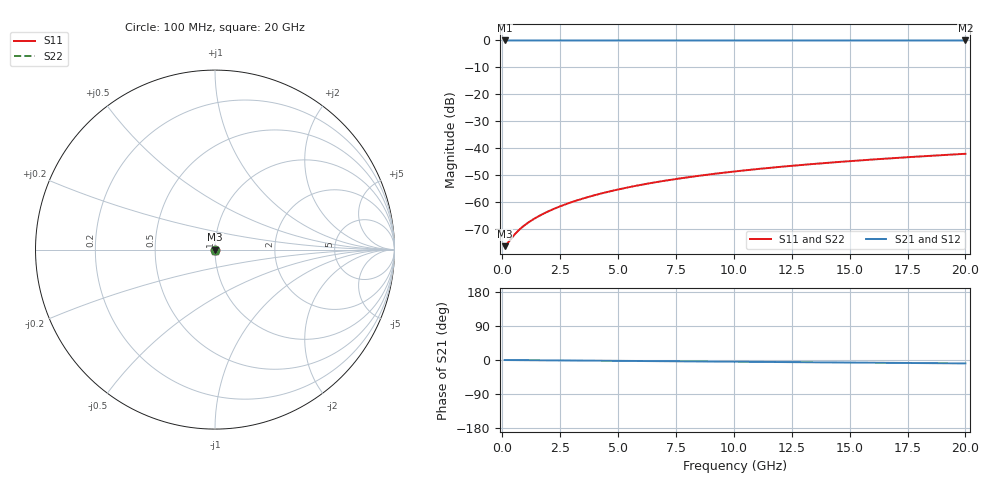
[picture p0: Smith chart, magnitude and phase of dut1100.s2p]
! Touchstone file exported from HFSS 2026.1.0
!  File:  C:/ffzhzh/LocalFiles/Ansys_Project_Files/temp_train_TSV_1100_1783190487_51560.aedt
!  Generated:  02:42:55 AM Jul  5, 2026
!  Design:  TSV
!  Project:  temp_train_TSV_1100_1783190487_51560
! Variables:
!  h_bsmrdl = 2um
!  h_ox = 20um
!  h_rdl = 5um
!  h_sub = 93.13um
!  h_tmrdl = 5um
!  h_tsv = 93.13um
!  h_via = 3um
!  l_bsmrdl = 300um
!  l_sub = 419.64um
!  l_tmrdl = 200um
!  m_sub = 200um
!  pitch = 37.93um
!  r_tsv = 9.82um
!  s_tmrdl = 10um
!  w_bsmrdl = 18um
!  w_sub = 500um
!  w_tmrdl = 12um
!  x_tsv_center1 = 206um
!  x_tsv_center2 = 524um
!  x_tsv_center3 = 736um
!  x_tsv_center4 = 1054um
!  x_tsv_center5 = 1266um
!  x_tsv_center6 = 1584um
# GHz S MA R 50.000000
! Terminal data exported
! Port[1] = TSV1_1_T1
! Port[2] = TSV1_1_T2
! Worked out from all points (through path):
!   200 points, 100 MHz to 20 GHz, reference 50 ohm
!   highest |S21| = 0.00 dB at 100 MHz (marker M1); lowest = 0.0 dB at 20 GHz (marker M2)
!   group delay of S21, straight-line fit = 1.24 ps
!   lowest |S11| = -76.4 dB at 100 MHz (marker M3), VSWR 1.00, Z = 50 + j0.00125 ohm
!   |S11| at or under -10 dB: start of sweep to end of sweep
!   |S22| runs from -76.4 to -42.1 dB; largest |S21 - S12| = 3.3e-15
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0.1  0.0001506 4.7  0.9998 -0.0  0.9998 -0.0  0.0001506 4.7
! Gamma 0 0 0 0
! Port Impedance 50 0 50 0
0.2  0.0001657 7.5  0.9998 -0.1  0.9998 -0.1  0.0001657 7.5
0.5  0.0002395 2.7  0.9998 -0.2  0.9998 -0.2  0.0002395 2.7
0.7  0.0002953 -5.4  0.9997 -0.3  0.9997 -0.3  0.0002952 -5.4
0.8  0.0003233 -9.5  0.9997 -0.4  0.9997 -0.4  0.0003233 -9.5
1  0.0003796 -17.4  0.9996 -0.5  0.9996 -0.5  0.0003796 -17.4
1.2  0.0004362 -24.3  0.9996 -0.6  0.9996 -0.6  0.0004362 -24.3
1.4  0.0004936 -30.1  0.9996 -0.6  0.9996 -0.6  0.0004936 -30.1
1.8  0.0006115 -39.3  0.9995 -0.8  0.9995 -0.8  0.0006115 -39.3
2.3  0.0007653 -47.3  0.9995 -1.0  0.9995 -1.0  0.0007653 -47.4
2.9  0.0009592 -53.9  0.9994 -1.3  0.9994 -1.3  0.0009591 -53.9
3.5  0.001162 -58.5  0.9994 -1.6  0.9994 -1.6  0.001162 -58.5
4.2  0.001409 -62.4  0.9993 -1.9  0.9993 -1.9  0.001409 -62.4
5  0.001702 -65.8  0.9992 -2.3  0.9992 -2.3  0.001702 -65.8
5.9  0.002042 -68.7  0.9992 -2.7  0.9992 -2.7  0.002042 -68.7
6.8  0.002391 -71.1  0.9991 -3.1  0.9991 -3.1  0.002391 -71.1
8.3  0.002984 -74.4  0.999 -3.7  0.999 -3.7  0.002984 -74.4
10.1  0.003709 -77.5  0.9989 -4.5  0.9989 -4.5  0.003708 -77.5
11.7  0.00436 -79.7  0.9988 -5.3  0.9988 -5.3  0.004359 -79.7
13.4  0.005058 -81.7  0.9987 -6.0  0.9987 -6.0  0.005058 -81.8
16.7  0.006432 -85.0  0.9986 -7.5  0.9986 -7.5  0.006431 -85.0
20  0.007837 -87.6  0.9984 -9.0  0.9984 -9.0  0.007836 -87.7
